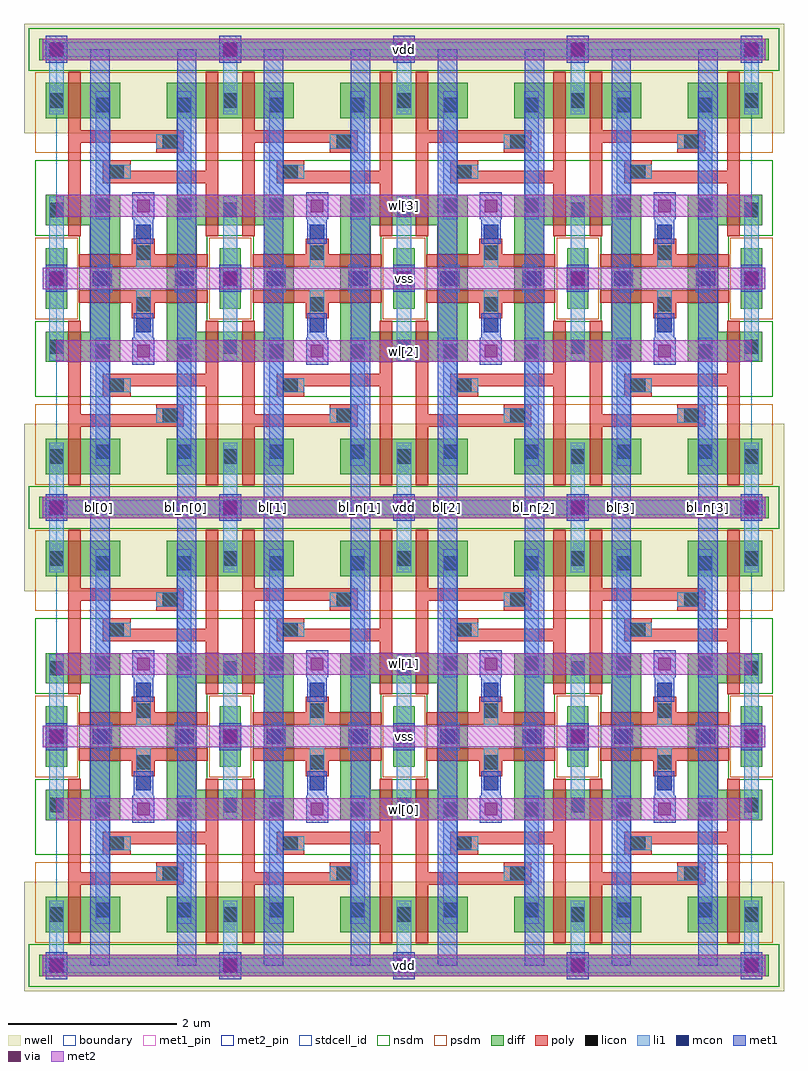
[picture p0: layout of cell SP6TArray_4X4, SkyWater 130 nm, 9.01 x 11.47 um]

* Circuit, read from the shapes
.subckt SP6TArray_4X4 bl[0] bl[1] bl[2] bl[3] bl_n[0] bl_n[1] bl_n[2] bl_n[3] vdd vss wl[0] wl[1] wl[2] wl[3]
XM1 n1 n2 vss VSUBS sky130_fd_pr__nfet_01v8 w=0.36 l=0.15
XM2 n3 n4 vss VSUBS sky130_fd_pr__nfet_01v8 w=0.36 l=0.15
XM3 n5 n6 vss VSUBS sky130_fd_pr__nfet_01v8 w=0.36 l=0.15
XM4 n7 n8 vss VSUBS sky130_fd_pr__nfet_01v8 w=0.36 l=0.15
XM5 bl[0] wl[0] n1 VSUBS sky130_fd_pr__nfet_01v8 w=0.36 l=0.15
XM6 n3 wl[1] bl[0] VSUBS sky130_fd_pr__nfet_01v8 w=0.36 l=0.15
XM7 bl[0] wl[2] n5 VSUBS sky130_fd_pr__nfet_01v8 w=0.36 l=0.15
XM8 n7 wl[3] bl[0] VSUBS sky130_fd_pr__nfet_01v8 w=0.36 l=0.15
XM9 bl_n[0] wl[0] n2 VSUBS sky130_fd_pr__nfet_01v8 w=0.36 l=0.15
XM10 n4 wl[1] bl_n[0] VSUBS sky130_fd_pr__nfet_01v8 w=0.36 l=0.15
XM11 bl_n[0] wl[2] n6 VSUBS sky130_fd_pr__nfet_01v8 w=0.36 l=0.15
XM12 n8 wl[3] bl_n[0] VSUBS sky130_fd_pr__nfet_01v8 w=0.36 l=0.15
XM13 vss n1 n2 VSUBS sky130_fd_pr__nfet_01v8 w=0.36 l=0.15
XM14 vss n3 n4 VSUBS sky130_fd_pr__nfet_01v8 w=0.36 l=0.15
XM15 vss n5 n6 VSUBS sky130_fd_pr__nfet_01v8 w=0.36 l=0.15
XM16 vss n7 n8 VSUBS sky130_fd_pr__nfet_01v8 w=0.36 l=0.15
XM17 n9 n10 vss VSUBS sky130_fd_pr__nfet_01v8 w=0.36 l=0.15
XM18 n11 n12 vss VSUBS sky130_fd_pr__nfet_01v8 w=0.36 l=0.15
XM19 n13 n14 vss VSUBS sky130_fd_pr__nfet_01v8 w=0.36 l=0.15
XM20 n15 n16 vss VSUBS sky130_fd_pr__nfet_01v8 w=0.36 l=0.15
XM21 bl[1] wl[0] n9 VSUBS sky130_fd_pr__nfet_01v8 w=0.36 l=0.15
XM22 n11 wl[1] bl[1] VSUBS sky130_fd_pr__nfet_01v8 w=0.36 l=0.15
XM23 bl[1] wl[2] n13 VSUBS sky130_fd_pr__nfet_01v8 w=0.36 l=0.15
XM24 n15 wl[3] bl[1] VSUBS sky130_fd_pr__nfet_01v8 w=0.36 l=0.15
XM25 bl_n[1] wl[0] n10 VSUBS sky130_fd_pr__nfet_01v8 w=0.36 l=0.15
XM26 n12 wl[1] bl_n[1] VSUBS sky130_fd_pr__nfet_01v8 w=0.36 l=0.15
XM27 bl_n[1] wl[2] n14 VSUBS sky130_fd_pr__nfet_01v8 w=0.36 l=0.15
XM28 n16 wl[3] bl_n[1] VSUBS sky130_fd_pr__nfet_01v8 w=0.36 l=0.15
XM29 vss n9 n10 VSUBS sky130_fd_pr__nfet_01v8 w=0.36 l=0.15
XM30 vss n11 n12 VSUBS sky130_fd_pr__nfet_01v8 w=0.36 l=0.15
XM31 vss n13 n14 VSUBS sky130_fd_pr__nfet_01v8 w=0.36 l=0.15
XM32 vss n15 n16 VSUBS sky130_fd_pr__nfet_01v8 w=0.36 l=0.15
XM33 n17 n18 vss VSUBS sky130_fd_pr__nfet_01v8 w=0.36 l=0.15
XM34 n19 n20 vss VSUBS sky130_fd_pr__nfet_01v8 w=0.36 l=0.15
XM35 n21 n22 vss VSUBS sky130_fd_pr__nfet_01v8 w=0.36 l=0.15
XM36 n23 n24 vss VSUBS sky130_fd_pr__nfet_01v8 w=0.36 l=0.15
XM37 bl[2] wl[0] n17 VSUBS sky130_fd_pr__nfet_01v8 w=0.36 l=0.15
XM38 n19 wl[1] bl[2] VSUBS sky130_fd_pr__nfet_01v8 w=0.36 l=0.15
XM39 bl[2] wl[2] n21 VSUBS sky130_fd_pr__nfet_01v8 w=0.36 l=0.15
XM40 n23 wl[3] bl[2] VSUBS sky130_fd_pr__nfet_01v8 w=0.36 l=0.15
XM41 bl_n[2] wl[0] n18 VSUBS sky130_fd_pr__nfet_01v8 w=0.36 l=0.15
XM42 n20 wl[1] bl_n[2] VSUBS sky130_fd_pr__nfet_01v8 w=0.36 l=0.15
XM43 bl_n[2] wl[2] n22 VSUBS sky130_fd_pr__nfet_01v8 w=0.36 l=0.15
XM44 n24 wl[3] bl_n[2] VSUBS sky130_fd_pr__nfet_01v8 w=0.36 l=0.15
XM45 vss n17 n18 VSUBS sky130_fd_pr__nfet_01v8 w=0.36 l=0.15
XM46 vss n19 n20 VSUBS sky130_fd_pr__nfet_01v8 w=0.36 l=0.15
XM47 vss n21 n22 VSUBS sky130_fd_pr__nfet_01v8 w=0.36 l=0.15
XM48 vss n23 n24 VSUBS sky130_fd_pr__nfet_01v8 w=0.36 l=0.15
XM49 n25 n26 vss VSUBS sky130_fd_pr__nfet_01v8 w=0.36 l=0.15
XM50 n27 n28 vss VSUBS sky130_fd_pr__nfet_01v8 w=0.36 l=0.15
XM51 n29 n30 vss VSUBS sky130_fd_pr__nfet_01v8 w=0.36 l=0.15
XM52 n31 n32 vss VSUBS sky130_fd_pr__nfet_01v8 w=0.36 l=0.15
XM53 bl[3] wl[0] n25 VSUBS sky130_fd_pr__nfet_01v8 w=0.36 l=0.15
XM54 n27 wl[1] bl[3] VSUBS sky130_fd_pr__nfet_01v8 w=0.36 l=0.15
XM55 bl[3] wl[2] n29 VSUBS sky130_fd_pr__nfet_01v8 w=0.36 l=0.15
XM56 n31 wl[3] bl[3] VSUBS sky130_fd_pr__nfet_01v8 w=0.36 l=0.15
XM57 bl_n[3] wl[0] n26 VSUBS sky130_fd_pr__nfet_01v8 w=0.36 l=0.15
XM58 n28 wl[1] bl_n[3] VSUBS sky130_fd_pr__nfet_01v8 w=0.36 l=0.15
XM59 bl_n[3] wl[2] n30 VSUBS sky130_fd_pr__nfet_01v8 w=0.36 l=0.15
XM60 n32 wl[3] bl_n[3] VSUBS sky130_fd_pr__nfet_01v8 w=0.36 l=0.15
XM61 vss n25 n26 VSUBS sky130_fd_pr__nfet_01v8 w=0.36 l=0.15
XM62 vss n27 n28 VSUBS sky130_fd_pr__nfet_01v8 w=0.36 l=0.15
XM63 vss n29 n30 VSUBS sky130_fd_pr__nfet_01v8 w=0.36 l=0.15
XM64 vss n31 n32 VSUBS sky130_fd_pr__nfet_01v8 w=0.36 l=0.15
XM65 n1 n2 vdd n33 sky130_fd_pr__pfet_01v8 w=0.42 l=0.15
XM66 n3 n4 vdd n34 sky130_fd_pr__pfet_01v8 w=0.42 l=0.15
XM67 n5 n6 vdd n34 sky130_fd_pr__pfet_01v8 w=0.42 l=0.15
XM68 n7 n8 vdd n35 sky130_fd_pr__pfet_01v8 w=0.42 l=0.15
XM69 vdd n1 n2 n33 sky130_fd_pr__pfet_01v8 w=0.42 l=0.15
XM70 vdd n3 n4 n34 sky130_fd_pr__pfet_01v8 w=0.42 l=0.15
XM71 vdd n5 n6 n34 sky130_fd_pr__pfet_01v8 w=0.42 l=0.15
XM72 vdd n7 n8 n35 sky130_fd_pr__pfet_01v8 w=0.42 l=0.15
XM73 n9 n10 vdd n33 sky130_fd_pr__pfet_01v8 w=0.42 l=0.15
XM74 n11 n12 vdd n34 sky130_fd_pr__pfet_01v8 w=0.42 l=0.15
XM75 n13 n14 vdd n34 sky130_fd_pr__pfet_01v8 w=0.42 l=0.15
XM76 n15 n16 vdd n35 sky130_fd_pr__pfet_01v8 w=0.42 l=0.15
XM77 vdd n9 n10 n33 sky130_fd_pr__pfet_01v8 w=0.42 l=0.15
XM78 vdd n11 n12 n34 sky130_fd_pr__pfet_01v8 w=0.42 l=0.15
XM79 vdd n13 n14 n34 sky130_fd_pr__pfet_01v8 w=0.42 l=0.15
XM80 vdd n15 n16 n35 sky130_fd_pr__pfet_01v8 w=0.42 l=0.15
XM81 n17 n18 vdd n33 sky130_fd_pr__pfet_01v8 w=0.42 l=0.15
XM82 n19 n20 vdd n34 sky130_fd_pr__pfet_01v8 w=0.42 l=0.15
XM83 n21 n22 vdd n34 sky130_fd_pr__pfet_01v8 w=0.42 l=0.15
XM84 n23 n24 vdd n35 sky130_fd_pr__pfet_01v8 w=0.42 l=0.15
XM85 vdd n17 n18 n33 sky130_fd_pr__pfet_01v8 w=0.42 l=0.15
XM86 vdd n19 n20 n34 sky130_fd_pr__pfet_01v8 w=0.42 l=0.15
XM87 vdd n21 n22 n34 sky130_fd_pr__pfet_01v8 w=0.42 l=0.15
XM88 vdd n23 n24 n35 sky130_fd_pr__pfet_01v8 w=0.42 l=0.15
XM89 n25 n26 vdd n33 sky130_fd_pr__pfet_01v8 w=0.42 l=0.15
XM90 n27 n28 vdd n34 sky130_fd_pr__pfet_01v8 w=0.42 l=0.15
XM91 n29 n30 vdd n34 sky130_fd_pr__pfet_01v8 w=0.42 l=0.15
XM92 n31 n32 vdd n35 sky130_fd_pr__pfet_01v8 w=0.42 l=0.15
XM93 vdd n25 n26 n33 sky130_fd_pr__pfet_01v8 w=0.42 l=0.15
XM94 vdd n27 n28 n34 sky130_fd_pr__pfet_01v8 w=0.42 l=0.15
XM95 vdd n29 n30 n34 sky130_fd_pr__pfet_01v8 w=0.42 l=0.15
XM96 vdd n31 n32 n35 sky130_fd_pr__pfet_01v8 w=0.42 l=0.15
.ends

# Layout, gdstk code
import gdstk
lib = gdstk.Library(unit=1e-6, precision=1e-09)
def R(c, l, rs):  # rectangles x0, y0, x1, y1
    for r in rs: c.add(gdstk.rectangle(r[:2], r[2:], *l))
def A(c, l, x, y, w, h, nx, ny, dx, dy):  # array of equal rectangles
    R(c, l, [(x+i*dx, y+j*dy, x+i*dx+w, y+j*dy+h) for i in range(nx) for j in range(ny)])
def P(c, l, *ps):  # polygons
    for p in ps: c.add(gdstk.Polygon(p, *l))
nwell = (64, 20)
diff = (65, 20)
poly = (66, 20)
licon = (66, 44)
li1 = (67, 20)
mcon = (67, 44)
met1_pin = (68, 16)
met1 = (68, 20)
via = (68, 44)
met2_pin = (69, 16)
met2 = (69, 20)
stdcell_id = (81, 4)
nsdm = (93, 44)
psdm = (94, 20)
boundary = (235, 4)

sp6tcell = lib.new_cell('SP6TCell')
R(sp6tcell, nwell, [(-0.385,1.72,2.445,3.02)])
R(sp6tcell, diff, [(-0.125,-0.36,0.125,0.36), (1.935,-0.36,2.185,0.36), (-0.125,1.9,0.755,2.32), (1.305,1.9,2.185,2.32), (-0.205,2.59,2.265,2.84)])
P(sp6tcell, diff, [(1.305,-0.125),(1.305,0.99),(2.185,0.99),(2.185,0.63),(1.665,0.63),(1.665,-0.125)],
  [(0.395,-0.125),(0.395,0.63),(-0.125,0.63),(-0.125,0.99),(0.755,0.99),(0.755,-0.125)])
P(sp6tcell, poly, [(1.77,0.5),(1.77,1.13),(0.55,1.13),(0.55,1.4),(0.88,1.4),(0.88,1.28),(1.77,1.28),(1.77,2.45),(1.92,2.45),(1.92,0.5)],
  [(0.14,0.5),(0.14,2.45),(0.29,2.45),(0.29,1.76),(1.51,1.76),(1.51,1.49),(1.18,1.49),(1.18,1.61),(0.29,1.61),(0.29,0.5)],
  [(0.265,0.14),(0.265,0.29),(0.895,0.29),(0.895,0.47),(1.165,0.47),(1.165,0.29),(1.795,0.29),(1.795,0.14)])
R(sp6tcell, licon, [(-0.085,-0.085,0.085,0.085), (0.49,-0.085,0.66,0.085), (1.4,-0.085,1.57,0.085), (1.975,-0.085,2.145,0.085), (0.945,0.22,1.115,0.39), (-0.085,0.725,0.085,0.895), (1.975,0.725,2.145,0.895), (0.465,0.78,0.635,0.95), (1.425,0.78,1.595,0.95), (0.63,1.18,0.8,1.35), (1.26,1.54,1.43,1.71), (0.465,1.97,0.635,2.14), (1.425,1.97,1.595,2.14), (-0.085,2.025,0.085,2.195), (1.975,2.025,2.145,2.195), (-0.085,2.63,0.085,2.8), (1.975,2.63,2.145,2.8)])
R(sp6tcell, li1, [(-0.085,-0.165,0.085,0.975), (1.975,-0.165,2.145,0.975), (0.945,0.14,1.115,0.64)])
P(sp6tcell, li1, [(0.465,0.7),(0.465,2.22),(0.635,2.22),(0.635,1.35),(0.88,1.35),(0.88,1.18),(0.635,1.18),(0.635,0.7)],
  [(1.425,0.7),(1.425,1.54),(1.18,1.54),(1.18,1.71),(1.425,1.71),(1.425,2.22),(1.595,2.22),(1.595,0.7)],
  [(-0.085,1.945),(-0.085,2.63),(-0.165,2.63),(-0.165,2.8),(2.225,2.8),(2.225,2.63),(2.145,2.63),(2.145,1.945),(1.975,1.945),(1.975,2.63),(0.085,2.63),(0.085,1.945)],
  [(0.49,-0.165),(0.49,-0.085),(0.43,-0.085),(0.43,0.085),(0.49,0.085),(0.49,0.165),(0.66,0.165),(0.66,-0.165)],
  [(1.4,-0.165),(1.4,0.165),(1.57,0.165),(1.57,0.085),(1.63,0.085),(1.63,-0.085),(1.57,-0.085),(1.57,-0.165)])
R(sp6tcell, mcon, [(-0.085,-0.085,0.085,0.085), (0.43,-0.085,0.6,0.085), (1.46,-0.085,1.63,0.085), (1.975,-0.085,2.145,0.085), (0.945,0.47,1.115,0.64), (-0.085,2.63,0.085,2.8), (1.975,2.63,2.145,2.8)])
R(sp6tcell, met1_pin, [(0.4,-0.145,0.63,2.715), (1.43,-0.145,1.66,2.715)])
R(sp6tcell, met1, [(-0.13,-0.16,0.13,0.16), (1.93,-0.16,2.19,0.16), (0.4,-0.145,0.63,2.715), (1.43,-0.145,1.66,2.715), (-0.13,2.555,0.13,2.875), (1.93,2.555,2.19,2.875)])
P(sp6tcell, met1, [(0.915,0.41),(0.915,0.7),(0.9,0.7),(0.9,1.02),(1.16,1.02),(1.16,0.7),(1.145,0.7),(1.145,0.41)])
R(sp6tcell, via, [(-0.075,-0.075,0.075,0.075), (1.985,-0.075,2.135,0.075), (0.955,0.785,1.105,0.935), (-0.075,2.64,0.075,2.79), (1.985,2.64,2.135,2.79)])
R(sp6tcell, met2_pin, [(-0.16,-0.13,2.22,0.13), (0,0.73,2.06,0.99), (-0.16,2.585,2.22,2.845)])
R(sp6tcell, met2, [(-0.16,-0.13,2.22,0.13), (0,0.73,2.06,0.99), (-0.16,2.585,2.22,2.845)])
R(sp6tcell, stdcell_id, [(0.39,0.135,0.76,0.295), (1.3,0.135,1.67,0.295), (0.135,0.625,0.295,0.995), (1.765,0.625,1.925,0.995)])
R(sp6tcell, nsdm, [(-0.33,2.465,2.39,2.965)])
P(sp6tcell, nsdm, [(0.27,-0.25),(0.27,0.505),(-0.25,0.505),(-0.25,1.4),(2.31,1.4),(2.31,0.505),(1.79,0.505),(1.79,-0.25)])
R(sp6tcell, psdm, [(-0.25,-0.485,0.25,0.485), (1.81,-0.485,2.31,0.485), (-0.25,1.49,2.31,2.445)])
R(sp6tcell, boundary, [(0,0,2.06,2.715)])
sp6tcell.add(gdstk.Label('vss', (1.03,0), layer=69, texttype=16))
sp6tcell.add(gdstk.Label('vdd', (1.03,2.715), layer=69, texttype=16))
sp6tcell.add(gdstk.Label('wl', (1.03,0.86), layer=69, texttype=16))
sp6tcell.add(gdstk.Label('bl', (0.515,1.285), layer=68, texttype=16))
sp6tcell.add(gdstk.Label('bl_n', (1.545,1.285), layer=68, texttype=16))

sp6tarray_2x1 = lib.new_cell('SP6TArray_2X1')
R(sp6tarray_2x1, met1_pin, [(0.4,0,0.63,5.43), (1.43,0,1.66,5.43)])
R(sp6tarray_2x1, met1, [(0.4,0,0.63,5.43), (1.43,0,1.66,5.43)])
A(sp6tarray_2x1, met2_pin, 0, 1.725, 2.06, 0.26, 1, 3, 0, 0.86)
R(sp6tarray_2x1, met2_pin, [(0,-0.13,2.06,0.13), (0,5.3,2.06,5.56)])
A(sp6tarray_2x1, met2, 0, 1.725, 2.06, 0.26, 1, 3, 0, 0.86)
R(sp6tarray_2x1, met2, [(0,-0.13,2.06,0.13), (0,5.3,2.06,5.56)])
R(sp6tarray_2x1, boundary, [(0,0,2.06,5.43)])
sp6tarray_2x1.add(gdstk.Reference(sp6tcell, (0,2.715), x_reflection=True))
sp6tarray_2x1.add(gdstk.Reference(sp6tcell, (0,2.715)))
sp6tarray_2x1.add(gdstk.Label('vss', (1.03,2.715), layer=69, texttype=16))
sp6tarray_2x1.add(gdstk.Label('vdd', (1.03,0), layer=69, texttype=16))
sp6tarray_2x1.add(gdstk.Label('vdd', (1.03,5.43), layer=69, texttype=16))
sp6tarray_2x1.add(gdstk.Label('wl[0]', (1.03,1.855), layer=69, texttype=16))
sp6tarray_2x1.add(gdstk.Label('wl[1]', (1.03,3.575), layer=69, texttype=16))
sp6tarray_2x1.add(gdstk.Label('bl[0]', (0.515,2.715), layer=68, texttype=16))
sp6tarray_2x1.add(gdstk.Label('bl_n[0]', (1.545,2.715), layer=68, texttype=16))

sp6tarray_2x2 = lib.new_cell('SP6TArray_2X2')
A(sp6tarray_2x2, met1_pin, 0.4, 0, 0.23, 5.43, 4, 1, 1.03, 0)
A(sp6tarray_2x2, met1, 0.4, 0, 0.23, 5.43, 4, 1, 1.03, 0)
A(sp6tarray_2x2, met2_pin, 0, 1.725, 4.12, 0.26, 1, 3, 0, 0.86)
R(sp6tarray_2x2, met2_pin, [(0,-0.13,4.12,0.13), (0,5.3,4.12,5.56)])
A(sp6tarray_2x2, met2, 0, 1.725, 4.12, 0.26, 1, 3, 0, 0.86)
R(sp6tarray_2x2, met2, [(0,-0.13,4.12,0.13), (0,5.3,4.12,5.56)])
R(sp6tarray_2x2, boundary, [(0,0,4.12,5.43)])
sp6tarray_2x2.add(gdstk.Reference(sp6tarray_2x1, (0,0)))
sp6tarray_2x2.add(gdstk.Reference(sp6tarray_2x1, (2.06,0)))
sp6tarray_2x2.add(gdstk.Label('vss', (2.06,2.715), layer=69, texttype=16))
sp6tarray_2x2.add(gdstk.Label('vdd', (2.06,5.43), layer=69, texttype=16))
sp6tarray_2x2.add(gdstk.Label('vdd', (2.06,0), layer=69, texttype=16))
sp6tarray_2x2.add(gdstk.Label('wl[0]', (2.06,1.855), layer=69, texttype=16))
sp6tarray_2x2.add(gdstk.Label('wl[1]', (2.06,3.575), layer=69, texttype=16))
sp6tarray_2x2.add(gdstk.Label('bl[0]', (0.515,2.715), layer=68, texttype=16))
sp6tarray_2x2.add(gdstk.Label('bl_n[0]', (1.545,2.715), layer=68, texttype=16))
sp6tarray_2x2.add(gdstk.Label('bl[1]', (2.575,2.715), layer=68, texttype=16))
sp6tarray_2x2.add(gdstk.Label('bl_n[1]', (3.605,2.715), layer=68, texttype=16))

sp6tarray_4x2 = lib.new_cell('SP6TArray_4X2')
A(sp6tarray_4x2, met1_pin, 0.4, 0, 0.23, 10.86, 4, 1, 1.03, 0)
A(sp6tarray_4x2, met1, 0.4, 0, 0.23, 10.86, 4, 1, 1.03, 0)
A(sp6tarray_4x2, met2_pin, 0, 1.725, 4.12, 0.26, 1, 3, 0, 0.86)
A(sp6tarray_4x2, met2_pin, 0, 7.155, 4.12, 0.26, 1, 3, 0, 0.86)
R(sp6tarray_4x2, met2_pin, [(0,-0.13,4.12,0.13), (0,5.3,4.12,5.56), (0,10.73,4.12,10.99)])
A(sp6tarray_4x2, met2, 0, 1.725, 4.12, 0.26, 1, 3, 0, 0.86)
A(sp6tarray_4x2, met2, 0, 7.155, 4.12, 0.26, 1, 3, 0, 0.86)
R(sp6tarray_4x2, met2, [(0,-0.13,4.12,0.13), (0,5.3,4.12,5.56), (0,10.73,4.12,10.99)])
R(sp6tarray_4x2, boundary, [(0,0,4.12,10.86)])
sp6tarray_4x2.add(gdstk.Reference(sp6tarray_2x2, (0,0)))
sp6tarray_4x2.add(gdstk.Reference(sp6tarray_2x2, (0,5.43)))
sp6tarray_4x2.add(gdstk.Label('vss', (2.06,8.145), layer=69, texttype=16))
sp6tarray_4x2.add(gdstk.Label('vss', (2.06,2.715), layer=69, texttype=16))
sp6tarray_4x2.add(gdstk.Label('vdd', (2.06,5.43), layer=69, texttype=16))
sp6tarray_4x2.add(gdstk.Label('vdd', (2.06,10.86), layer=69, texttype=16))
sp6tarray_4x2.add(gdstk.Label('vdd', (2.06,0), layer=69, texttype=16))
sp6tarray_4x2.add(gdstk.Label('wl[0]', (2.06,1.855), layer=69, texttype=16))
sp6tarray_4x2.add(gdstk.Label('wl[1]', (2.06,3.575), layer=69, texttype=16))
sp6tarray_4x2.add(gdstk.Label('wl[2]', (2.06,7.285), layer=69, texttype=16))
sp6tarray_4x2.add(gdstk.Label('wl[3]', (2.06,9.005), layer=69, texttype=16))
sp6tarray_4x2.add(gdstk.Label('bl[0]', (0.515,5.43), layer=68, texttype=16))
sp6tarray_4x2.add(gdstk.Label('bl_n[0]', (1.545,5.43), layer=68, texttype=16))
sp6tarray_4x2.add(gdstk.Label('bl[1]', (2.575,5.43), layer=68, texttype=16))
sp6tarray_4x2.add(gdstk.Label('bl_n[1]', (3.605,5.43), layer=68, texttype=16))

sp6tarray_4x4 = lib.new_cell('SP6TArray_4X4')
A(sp6tarray_4x4, met1_pin, 0.4, 0, 0.23, 10.86, 8, 1, 1.03, 0)
A(sp6tarray_4x4, met1, 0.4, 0, 0.23, 10.86, 8, 1, 1.03, 0)
A(sp6tarray_4x4, met2_pin, 0, 1.725, 8.24, 0.26, 1, 3, 0, 0.86)
A(sp6tarray_4x4, met2_pin, 0, 7.155, 8.24, 0.26, 1, 3, 0, 0.86)
R(sp6tarray_4x4, met2_pin, [(0,-0.13,8.24,0.13), (0,5.3,8.24,5.56), (0,10.73,8.24,10.99)])
A(sp6tarray_4x4, met2, 0, 1.725, 8.24, 0.26, 1, 3, 0, 0.86)
A(sp6tarray_4x4, met2, 0, 7.155, 8.24, 0.26, 1, 3, 0, 0.86)
R(sp6tarray_4x4, met2, [(0,-0.13,8.24,0.13), (0,5.3,8.24,5.56), (0,10.73,8.24,10.99)])
R(sp6tarray_4x4, boundary, [(0,0,8.24,10.86)])
sp6tarray_4x4.add(gdstk.Reference(sp6tarray_4x2, (0,0)))
sp6tarray_4x4.add(gdstk.Reference(sp6tarray_4x2, (4.12,0)))
sp6tarray_4x4.add(gdstk.Label('vss', (4.12,8.145), layer=69, texttype=16))
sp6tarray_4x4.add(gdstk.Label('vss', (4.12,2.715), layer=69, texttype=16))
sp6tarray_4x4.add(gdstk.Label('vdd', (4.12,0), layer=69, texttype=16))
sp6tarray_4x4.add(gdstk.Label('vdd', (4.12,10.86), layer=69, texttype=16))
sp6tarray_4x4.add(gdstk.Label('vdd', (4.12,5.43), layer=69, texttype=16))
sp6tarray_4x4.add(gdstk.Label('wl[0]', (4.12,1.855), layer=69, texttype=16))
sp6tarray_4x4.add(gdstk.Label('wl[1]', (4.12,3.575), layer=69, texttype=16))
sp6tarray_4x4.add(gdstk.Label('wl[2]', (4.12,7.285), layer=69, texttype=16))
sp6tarray_4x4.add(gdstk.Label('wl[3]', (4.12,9.005), layer=69, texttype=16))
sp6tarray_4x4.add(gdstk.Label('bl[0]', (0.515,5.43), layer=68, texttype=16))
sp6tarray_4x4.add(gdstk.Label('bl_n[0]', (1.545,5.43), layer=68, texttype=16))
sp6tarray_4x4.add(gdstk.Label('bl[1]', (2.575,5.43), layer=68, texttype=16))
sp6tarray_4x4.add(gdstk.Label('bl_n[1]', (3.605,5.43), layer=68, texttype=16))
sp6tarray_4x4.add(gdstk.Label('bl[2]', (4.635,5.43), layer=68, texttype=16))
sp6tarray_4x4.add(gdstk.Label('bl_n[2]', (5.665,5.43), layer=68, texttype=16))
sp6tarray_4x4.add(gdstk.Label('bl[3]', (6.695,5.43), layer=68, texttype=16))
sp6tarray_4x4.add(gdstk.Label('bl_n[3]', (7.725,5.43), layer=68, texttype=16))

lib.write_gds('SP6TArray_4X4.gds')
